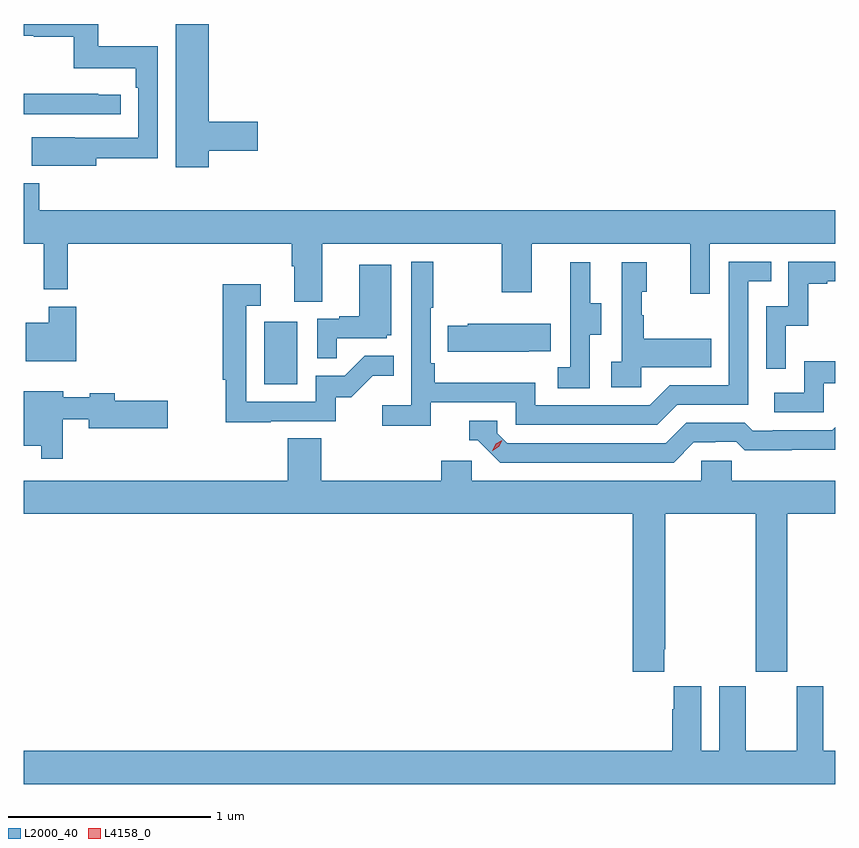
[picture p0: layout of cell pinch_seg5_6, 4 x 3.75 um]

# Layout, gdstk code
import gdstk
lib = gdstk.Library(unit=1e-6, precision=1e-09)
def R(c, l, rs):  # rectangles x0, y0, x1, y1
    for r in rs: c.add(gdstk.rectangle(r[:2], r[2:], *l))
def P(c, l, *ps):  # polygons
    for p in ps: c.add(gdstk.Polygon(p, *l))
L2000_40 = (2000, 40)
L4158_0 = (4158, 0)

pinch_seg5_6 = lib.new_cell('pinch_seg5_6')
R(pinch_seg5_6, L2000_40, [(1128.8,898.692,1128.964,898.999)])
P(pinch_seg5_6, L2000_40, [(1128.526,899.842),(1128.769,899.842),(1128.769,899.984),(1128.526,899.984),(1128.526,900.467),(1128.365,900.467),(1128.365,899.76),(1128.526,899.76)],
  [(1127.971,899.806),(1128.276,899.806),(1128.276,900.358),(1127.983,900.358),(1127.983,900.467),(1127.615,900.467),(1127.615,900.408),(1127.665,900.408),(1127.665,900.403),(1127.862,900.403),(1127.862,900.248),(1128.167,900.248),(1128.167,900.152),(1128.18,900.152),(1128.18,899.907),(1127.867,899.907),(1127.867,899.908),(1127.653,899.908),(1127.653,899.768),(1127.971,899.768)],
  [(1128.094,900.117),(1127.981,900.117),(1127.981,900.122),(1127.615,900.122),(1127.615,900.021),(1128.094,900.021)],
  [(1129.087,899.384),(1129.972,899.384),(1129.972,899.145),(1130.119,899.145),(1130.119,899.384),(1130.9,899.384),(1130.9,899.136),(1130.997,899.136),(1130.997,899.384),(1131.615,899.384),(1131.615,899.548),(1127.69,899.548),(1127.69,899.683),(1127.615,899.683),(1127.615,899.384),(1127.714,899.384),(1127.714,899.159),(1127.831,899.159),(1127.831,899.384),(1128.935,899.384),(1128.935,899.272),(1128.947,899.272),(1128.947,899.098),(1129.087,899.098)],
  [(1129.622,898.602),(1130.04,898.602),(1130.04,898.491),(1130.737,898.491),(1130.836,898.59),(1131.186,898.59),(1131.186,899.199),(1131.299,899.199),(1131.299,899.295),(1131.09,899.295),(1131.09,898.686),(1130.799,898.686),(1130.7,898.587),(1130.136,898.587),(1130.136,898.699),(1129.64,898.699),(1129.64,898.795),(1129.62,898.795),(1129.62,899.068),(1129.633,899.068),(1129.633,899.296),(1129.524,899.296),(1129.524,898.588),(1129.383,898.588),(1129.383,898.486),(1129.622,898.486)],
  [(1131.372,898.979),(1131.482,898.979),(1131.482,899.187),(1131.577,899.187),(1131.577,899.199),(1131.615,899.199),(1131.615,899.295),(1131.384,899.295),(1131.384,899.076),(1131.276,899.076),(1131.276,898.767),(1131.372,898.767)],
  [(1130.658,898.775),(1131.005,898.775),(1131.005,898.915),(1130.671,898.915),(1130.671,899.03),(1130.661,899.03),(1130.661,899.148),(1130.686,899.148),(1130.686,899.293),(1130.562,899.293),(1130.562,898.802),(1130.511,898.802),(1130.511,898.677),(1130.658,898.677)],
  [(1130.406,898.936),(1130.461,898.936),(1130.461,899.091),(1130.407,899.091),(1130.407,899.293),(1130.309,899.293),(1130.309,899.079),(1130.31,899.079),(1130.31,898.775),(1130.247,898.775),(1130.247,898.672),(1130.406,898.672)],
  [(1129.157,898.917),(1129.404,898.917),(1129.404,898.932),(1129.426,898.932),(1129.426,899.281),(1129.268,899.281),(1129.268,899.026),(1129.169,899.026),(1129.169,899.013),(1129.062,899.013),(1129.062,898.819),(1129.157,898.819)],
  [(1128.833,898.509),(1129.152,898.509),(1129.152,898.626),(1129.228,898.626),(1129.335,898.733),(1129.439,898.733),(1129.439,898.832),(1129.295,898.832),(1129.197,898.734),(1129.053,898.734),(1129.053,898.605),(1128.711,898.605),(1128.711,899.079),(1128.784,899.079),(1128.784,899.185),(1128.595,899.185),(1128.595,898.712),(1128.61,898.712),(1128.61,898.504),(1128.833,898.504)],
  [(1127.873,899.074),(1127.738,899.074),(1127.738,898.993),(1127.624,898.993),(1127.624,898.805),(1127.873,898.805)],
  [(1130.105,898.853),(1130.213,898.853),(1130.213,898.99),(1129.803,898.99),(1129.803,898.98),(1129.705,898.98),(1129.705,898.85),(1130.105,898.85)],
  [(1131.558,898.695),(1131.615,898.695),(1131.615,898.804),(1131.462,898.804),(1131.462,898.65),(1131.315,898.65),(1131.315,898.554),(1131.558,898.554)],
  [(1127.808,898.518),(1127.936,898.518),(1127.936,898.475),(1128.325,898.475),(1128.325,898.61),(1128.064,898.61),(1128.064,898.646),(1127.94,898.646),(1127.94,898.627),(1127.809,898.627),(1127.809,898.657),(1127.615,898.657),(1127.615,898.388),(1127.7,898.388),(1127.7,898.323),(1127.808,898.323)],
  [(1130.917,898.404),(1131.024,898.404),(1131.024,898.407),(1131.127,898.407),(1131.169,898.365),(1131.402,898.365),(1131.402,898.367),(1131.615,898.367),(1131.615,898.479),(1131.6,898.464),(1131.307,898.464),(1131.307,898.461),(1131.208,898.461),(1131.169,898.5),(1130.88,898.5),(1130.781,898.401),(1129.998,898.401),(1129.95,898.449),(1129.95,898.512),(1129.811,898.512),(1129.811,898.416),(1129.854,898.416),(1129.965,898.305),(1130.818,898.305)],
  [(1130.773,897.385),(1130.778,897.385),(1130.778,898.052),(1131.223,898.052),(1131.223,897.273),(1131.378,897.273),(1131.378,898.052),(1131.615,898.052),(1131.615,898.216),(1131.105,898.216),(1131.105,898.314),(1130.955,898.314),(1130.955,898.216),(1129.824,898.216),(1129.824,898.314),(1129.673,898.314),(1129.673,898.216),(1129.082,898.216),(1129.082,898.424),(1128.917,898.424),(1128.917,898.216),(1127.615,898.216),(1127.615,898.052),(1130.618,898.052),(1130.618,897.273),(1130.773,897.273)],
  [(1131.615,896.884),(1131.556,896.884),(1131.556,897.202),(1131.425,897.202),(1131.425,896.884),(1131.175,896.884),(1131.175,897.202),(1131.044,897.202),(1131.044,896.884),(1130.956,896.884),(1130.956,897.202),(1130.819,897.202),(1130.819,897.089),(1130.813,897.089),(1130.813,896.884),(1127.615,896.884),(1127.615,896.72),(1131.615,896.72)])
P(pinch_seg5_6, L4158_0, [(1129.925,898.364),(1129.925,898.364),(1129.942,898.397),(1129.973,898.416),(1129.973,898.416),(1129.973,898.416),(1129.957,898.383),(1129.926,898.364)])

lib.write_gds('pinch_seg5_6.gds')
